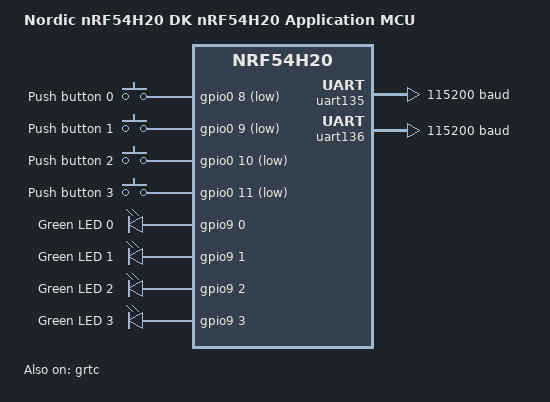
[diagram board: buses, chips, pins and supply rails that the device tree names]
/*
 * Copyright (c) 2024 Nordic Semiconductor ASA
 *
 * SPDX-License-Identifier: Apache-2.0
 */

/dts-v1/;

#include <nordic/nrf54h20_cpuapp.dtsi>
#include "nrf54h20dk_nrf54h20-memory_map.dtsi"
#include "nrf54h20dk_nrf54h20-ipc_conf.dtsi"
#include "nrf54h20dk_nrf54h20-pinctrl.dtsi"

/delete-node/ &cpusec_cpurad_ipc;

/ {
	compatible = "nordic,nrf54h20dk_nrf54h20-cpuapp";
	model = "Nordic nRF54H20 DK nRF54H20 Application MCU";

	chosen {
		zephyr,console = &uart136;
		zephyr,code-partition = &cpuapp_slot0_partition;
		zephyr,flash = &mram1x;
		zephyr,sram = &cpuapp_data;
	};

	aliases {
		led0 = &led0;
		led1 = &led1;
		led2 = &led2;
		led3 = &led3;
		sw0 = &button0;
		sw1 = &button1;
		sw2 = &button2;
		sw3 = &button3;
	};

	buttons {
		compatible = "gpio-keys";

		button0: button_0 {
			gpios = <&gpio0 8 (GPIO_PULL_UP | GPIO_ACTIVE_LOW)>;
			label = "Push button 0";
			zephyr,code = <INPUT_KEY_0>;
		};

		button1: button_1 {
			gpios = <&gpio0 9 (GPIO_PULL_UP | GPIO_ACTIVE_LOW)>;
			label = "Push button 1";
			zephyr,code = <INPUT_KEY_1>;
		};

		button2: button_2 {
			gpios = <&gpio0 10 (GPIO_PULL_UP | GPIO_ACTIVE_LOW)>;
			label = "Push button 2";
			zephyr,code = <INPUT_KEY_2>;
		};

		button3: button_3 {
			gpios = <&gpio0 11 (GPIO_PULL_UP | GPIO_ACTIVE_LOW)>;
			label = "Push button 3";
			zephyr,code = <INPUT_KEY_3>;
		};
	};

	leds {
		compatible = "gpio-leds";

		led0: led_0 {
			gpios = <&gpio9 0 GPIO_ACTIVE_HIGH>;
			label = "Green LED 0";
		};

		led1: led_1 {
			gpios = <&gpio9 1 GPIO_ACTIVE_HIGH>;
			label = "Green LED 1";
		};

		led2: led_2 {
			gpios = <&gpio9 2 GPIO_ACTIVE_HIGH>;
			label = "Green LED 2";
		};

		led3: led_3 {
			gpios = <&gpio9 3 GPIO_ACTIVE_HIGH>;
			label = "Green LED 3";
		};
	};
};

&cpuapp_ram0x_region {
	status = "okay";
};

&shared_ram3x_region {
	status = "okay";
};

&cpuapp_bellboard {
	interrupts = <96 NRF_DEFAULT_IRQ_PRIORITY>;
	interrupt-names = "irq0";
	/* irq0: 0: cpuapp-cpusec, 13: cpuapp-cpuppr, 18: cpuapp-cpurad */
	nordic,interrupt-mapping = <0x00042001 0>;
};

&cpusec_cpuapp_ipc {
	mbox-names = "tx", "rx";
	tx-region = <&cpuapp_cpusec_ipc_shm>;
	rx-region = <&cpusec_cpuapp_ipc_shm>;
};

&cpuapp_cpurad_ipc {
	compatible = "zephyr,ipc-icmsg-me-initiator";
	mbox-names = "rx", "tx";
	tx-region = <&cpuapp_cpurad_ipc_shm>;
	rx-region = <&cpurad_cpuapp_ipc_shm>;
};

&cpuapp_cpuppr_ipc {
	mbox-names = "rx", "tx";
	tx-region = <&cpuapp_cpuppr_ipc_shm>;
	rx-region = <&cpuppr_cpuapp_ipc_shm>;
};

&cpuapp_dma_region {
	status = "okay";
};

&cpuapp_rx_partitions {
	status = "okay";
};

&cpuapp_rw_partitions {
	status = "okay";
};

&cpuppr_vpr {
	execution-memory = <&cpuppr_code_data>;
	source-memory = <&cpuppr_code_partition>;
};

&gpiote130 {
	status = "okay";
	owned-channels = <0 1 2 3 4 5 6 7>;
};

&gpio0 {
	status = "okay";
};

&gpio9 {
	status = "okay";
};

&grtc {
	status = "okay";
	child-owned-channels = <5 6>;
	nonsecure-channels = <5 6>;
	owned-channels = <4 5 6>;
};

&uart135 {
	current-speed = <115200>;
	pinctrl-0 = <&uart135_default>;
	pinctrl-1 = <&uart135_sleep>;
	pinctrl-names = "default", "sleep";
};

&uart136 {
	status = "okay";
	memory-regions = <&cpuapp_dma_region>;
	current-speed = <115200>;
	pinctrl-0 = <&uart136_default>;
	pinctrl-1 = <&uart136_sleep>;
	pinctrl-names = "default", "sleep";
};
